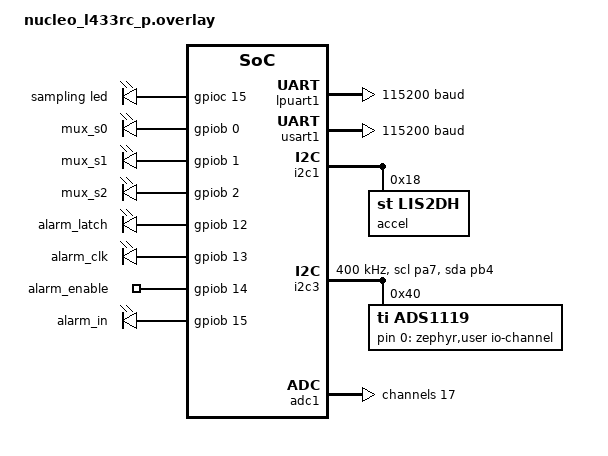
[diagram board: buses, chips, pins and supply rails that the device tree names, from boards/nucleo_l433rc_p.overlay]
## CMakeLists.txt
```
cmake_minimum_required(VERSION 3.20.0)
find_package(Zephyr REQUIRED HINTS $ENV{ZEPHYR_BASE})
project(prac2)

# Collect all the source files in app/prac2/src
FILE(GLOB app_sources src/*.c)

# Collect all the source files in lib. Note that
# the path given needs to be relative to the
# CMakeLists root, which is app/prac2 here,
# hence the ../../lib.c.
FILE(GLOB lib_sources ../../lib/*.c)

# Tell CMake to build with the app and lib sources
target_sources(app PRIVATE ${app_sources} ${lib_sources})

# Tell CMake where our header files are
target_include_directories(app PRIVATE ../../include)
```

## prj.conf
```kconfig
CONFIG_PRINTK=y
CONFIG_CBPRINTF_FP_SUPPORT=y
CONFIG_NEWLIB_LIBC=y
CONFIG_NEWLIB_LIBC_FLOAT_PRINTF=y

CONFIG_GPIO=y
CONFIG_I2C=y
CONFIG_SERIAL=y
CONFIG_UART_INTERRUPT_DRIVEN=y

CONFIG_ADC=y
CONFIG_ADC_STM32=y
CONFIG_LIS2DH=y
CONFIG_LIS2DH_TRIGGER_GLOBAL_THREAD=y
CONFIG_SENSOR=y

CONFIG_HEAP_MEM_POOL_SIZE=4096
```

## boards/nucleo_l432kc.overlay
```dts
/ {
	zephyr,user {
		/* adjust channel number according to pinmux in board.dts */
		io-channels = <&ads1119 0>;
	};

    die_temp: dietemp {
		status = "okay";
	};

	muxgpio: muxgpio {
        compatible = "gpio-leds";
        mux_s0: mux_s0 {
            gpios = <&gpioa 0 GPIO_ACTIVE_HIGH>;
        };
        mux_s1: mux_s1 {
            gpios = <&gpioa 1 GPIO_ACTIVE_HIGH>;
        };
		mux_s2: mux_s2 {
            gpios = <&gpioa 3 GPIO_ACTIVE_HIGH>;
        };
    };

/* 	alarmgpio: alarmgpio {
        compatible = "gpio-leds";
        alarm_in: alarm_in {
            gpios = <&gpiob 15 GPIO_ACTIVE_HIGH>;
        };
        alarm_clk: alarm_clk {
            gpios = <&gpiob 13 GPIO_ACTIVE_HIGH>;
        };
        alarm_latch: alarm_latch {
            gpios = <&gpiob 12 GPIO_ACTIVE_HIGH>;
        };
        alarm_enable: alarm_enable {
            gpios = <&gpiob 14 GPIO_ACTIVE_HIGH>;
        };
    }; */
};

&usart1 {
	status = "okay";
	current-speed = <115200>;
};

&i2c1 {
	status = "okay";
	accel: accelerometer@18 {
		status = "okay";
		compatible = "st,lis2dh";
		reg = <0x18>;
	};
};

&i2c3 {
	pinctrl-0 = <&i2c3_scl_pa7 &i2c3_sda_pb4>;
	pinctrl-names = "default";
	clock-frequency = <I2C_BITRATE_FAST>;
	status = "okay";
    ads1119: ads1119@40 {
        #io-channel-cells = <1>;
        #address-cells = <1>;
        #size-cells = <0>;
		status = "okay";
		compatible = "ti,ads1119";
		reg = <0x40>;
        channel@0 {
            reg = <0x0>;
            zephyr,gain = "ADC_GAIN_1";
            zephyr,reference = "ADC_REF_EXTERNAL0";
            zephyr,acquisition-time = <ADC_ACQ_TIME(ADC_ACQ_TIME_TICKS, 0)>;
            zephyr,resolution = <15>;
        };
	};
};

&adc1 {
    status = "okay";
	#address-cells = <1>;
	#size-cells = <0>;
	st,adc-clock-source = "SYNC";
	st,adc-prescaler = <4>;
    channel@17 {
		reg = <0x11>;
		zephyr,gain = "ADC_GAIN_1";
		zephyr,reference = "ADC_REF_INTERNAL";
		zephyr,acquisition-time = <ADC_ACQ_TIME_DEFAULT>;
		zephyr,resolution = <12>;
	};  
};
```

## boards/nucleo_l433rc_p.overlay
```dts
/ {
    chosen {
		zephyr,console = &usart1;
		zephyr,shell-uart = &usart1;
	};
	zephyr,user {
		/* adjust channel number according to pinmux in board.dts */
		io-channels = <&ads1119 0>;
	};

	leds: leds {
		compatible = "gpio-leds";
		sampling: sampling {
			gpios = <&gpioc 15 GPIO_ACTIVE_HIGH>;
			label = "sampling led";
		};
	};

    die_temp: dietemp {
		status = "okay";
	};

	muxgpio: muxgpio {
        compatible = "gpio-leds";
        mux_s0: mux_s0 {
            gpios = <&gpiob 0 GPIO_ACTIVE_HIGH>;
        };
        mux_s1: mux_s1 {
            gpios = <&gpiob 1 GPIO_ACTIVE_HIGH>;
        };
		mux_s2: mux_s2 {
            gpios = <&gpiob 2 GPIO_ACTIVE_HIGH>;
        };
    };

	alarmgpio: alarmgpio {
        compatible = "gpio-leds";
        alarm_latch: alarm_latch {
            gpios = <&gpiob 12 GPIO_ACTIVE_HIGH>;
        };
        alarm_clk: alarm_clk {
            gpios = <&gpiob 13 GPIO_ACTIVE_HIGH>;
        };
        alarm_enable: alarm_enable {
            gpios = <&gpiob 14 GPIO_ACTIVE_HIGH>;
        };
        alarm_in: alarm_in {
            gpios = <&gpiob 15 GPIO_ACTIVE_HIGH>;
        };
    };
};

&lpuart1 {
	status = "okay";
	current-speed = <115200>;
};

&usart1 {
    status = "okay";
	current-speed = <115200>;
};

&i2c1 {
	status = "okay";
	accel: accelerometer@18 {
		status = "okay";
		compatible = "st,lis2dh";
		reg = <0x18>;
	};
};

&i2c3 {
	pinctrl-0 = <&i2c3_scl_pa7 &i2c3_sda_pb4>;
	pinctrl-names = "default";
	clock-frequency = <I2C_BITRATE_FAST>;
	status = "okay";
    ads1119: ads1119@40 {
        #io-channel-cells = <1>;
        #address-cells = <1>;
        #size-cells = <0>;
		status = "okay";
		compatible = "ti,ads1119";
		reg = <0x40>;
        channel@0 {
            reg = <0x0>;
            zephyr,gain = "ADC_GAIN_1";
            zephyr,reference = "ADC_REF_EXTERNAL0";
            zephyr,acquisition-time = <ADC_ACQ_TIME(ADC_ACQ_TIME_TICKS, 0)>;
            zephyr,resolution = <15>;
        };
	};
};

&adc1 {
    status = "okay";
	#address-cells = <1>;
	#size-cells = <0>;
	st,adc-clock-source = "SYNC";
	st,adc-prescaler = <4>;
    channel@17 {
		reg = <0x11>;
		zephyr,gain = "ADC_GAIN_1";
		zephyr,reference = "ADC_REF_INTERNAL";
		zephyr,acquisition-time = <ADC_ACQ_TIME_DEFAULT>;
		zephyr,resolution = <12>;
	};  
};
```

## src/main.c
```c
/** 
**************************************************************
* @file embedded/apps/loggy/src/main.c
* @author Shane Baptist - 47484164
* @date 17/05/2025
* @brief Loggy main controlling thread
*************************************************************** 
*/

#include <zephyr/kernel.h>
#include <zephyr/sys/printk.h>
#include "analog_circuitry.h"
#include "lis3dh.h"
#include "temp_sensor.h"
#include "toslink.h"
#include "alarm.h"
#include <zephyr/drivers/uart.h>


// TODO: WAYYYY TOO SLOW
#define SAMPLING_DELAY	100

// control stack size
#define CONTROL_STACK_SIZE	1024
// control thread priority
#define CONTROL_THREAD_PRIORITY 1

// control thread function prototype
void control_thread();

// Define control thread
K_THREAD_DEFINE(control_tid, CONTROL_STACK_SIZE, control_thread, NULL, NULL, NULL, CONTROL_THREAD_PRIORITY, 0, 0);

static const struct device *const uart_dev = DEVICE_DT_GET(DT_NODELABEL(lpuart1));


// Separate uint32 into 4 uint8s, place in variable place in buffer
void separate_u32(uint32_t x, uint8_t* buf, size_t pos) {
	// check if valid buffer insertion
	if (pos > 36) {
		printk("Memory access violation, accessing buffer out of range.\r\n");
		return;
	}
	buf[pos] = (uint8_t)((x >> 24) & 0x000000FF);
	buf[pos + 1] = (uint8_t)((x >> 16) & 0x000000FF);
	buf[pos + 2] = (uint8_t)((x >> 8) & 0x000000FF);
	buf[pos + 3] = (uint8_t)(x & 0x000000FF);
}
// function to transmit char buffer char by char
void print_uart(uint8_t* buf) {
	for (int i = 0; i < PAYLOAD_SIZE; i++) {
		uart_poll_out(uart_dev, buf[i]);
		k_usleep(6000);

	}
}

// Controlling thread
void control_thread() {
	// array to store channel readings
	static int32_t chanReading[8];

	while (1) {
		//TODO: remove debug prints
		// Get channels 1-4 readings
		for (int i = 0; i < 4; i++) {
			k_msgq_peek(chanQPointers[i], &(chanReading[i]));
			printk("Channel %d: %d	mV\r\n", (i + 1), chanReading[i]);
		}

		// Get channels 5-7 readings
		k_msgq_peek(&accelX_msgq, &(chanReading[4]));
		k_msgq_peek(&accelY_msgq, &(chanReading[5]));
		k_msgq_peek(&accelZ_msgq, &(chanReading[6]));
		printk("Channel 5: %d	mm/s^2\r\n", chanReading[4]);
		printk("Channel 6: %d	mm/s^2\r\n", chanReading[5]);
		printk("Channel 7: %d	mm/s^2\r\n", chanReading[6]);

		// Get channel 8 reading
		k_msgq_peek(&temp_msgq, &(chanReading[7]));
		printk("Channel 8: %d	\u00b0C\r\n", chanReading[7]);
		printk("==================================================\r\n");

		k_sched_lock();
		// prevent race condition
		k_mutex_lock(&tx_mutex, K_FOREVER);

		// Place data in tx buffer to be transmitted
		for (int i = 0; i < 8; i++) {
 			separate_u32(chanReading[i], txBuf, (i * 4));
		}

		uart_poll_out(uart_dev, 0x77);
		k_usleep(6000);

		// send data buffer
		print_uart(txBuf);

		// send stop byte
		uart_poll_out(uart_dev, 0x55);
		k_usleep(6000);


		//k_mutex_unlock(&tx_mutex);

		k_sched_unlock();

		// thread delay
		k_msleep(SAMPLING_DELAY);
	}
}
```
